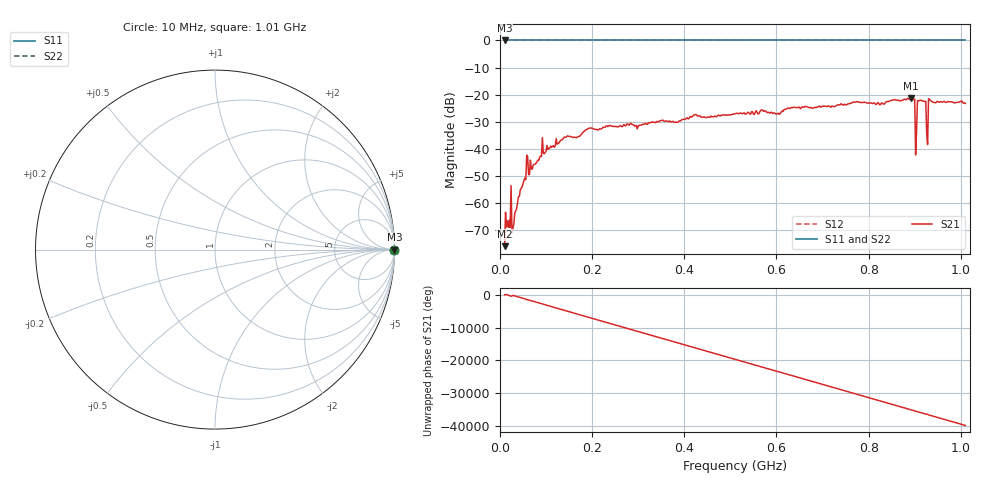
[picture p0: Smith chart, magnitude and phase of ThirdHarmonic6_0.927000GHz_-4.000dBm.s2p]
! 8/16/2025 6:14:09 AM
! C:\ANRITSUVNA\TEMP\TEMP.S2P
! CHANNEL.1
! TR.MEASUREMENT
! RAW.DATA
! RF.CORRECTION.OFF
! AVERAGING.OFF
! IF.BANDWIDTH: 5KHZ
! SWEEPTYPE:  FREQ.SWEEP(Linear)
! Reference Plane Port Info
! PORT:  PORT1  PORT2
! DISTANCE:  0  m  0  m
! TIME:  0  s  0  s
! PHASE.OFFSET:  0  deg.  0  deg.
! LOSS:  0  dB  0  dB
! REF.LOSS:  0  dB  0  dB
! REF.FREQ:  0  Hz  0  Hz
! Power Info
! POWER:  -20  dBm  -20  dBm
! EFF.POWER:  -20  dBm  -20  dBm
! SOURCE.ATTEN:  0  dB  0  dB
! TEST.ATTEN:  0  dB  0  dB
# GHZ S RI R 50.0
! FREQ.GHZ  S11RE  S11IM  S21RE  S21IM  S12RE  S12IM  S22RE  S22IM
!; PortSelection: Port_12
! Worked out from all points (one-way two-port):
!   501 points, 10 MHz to 1.01 GHz, reference 50 ohm
!   highest |S21| = -21.34 dB at 892 MHz (marker M1); lowest = -75.8 dB at 10 MHz (marker M2)
!   lowest |S11| = 0.0 dB at 10 MHz (marker M3)
!   |S11| at or under -10 dB: nowhere
!   |S22| runs from 0.0 to 0.0 dB; largest |S21 - S12| = 1.1
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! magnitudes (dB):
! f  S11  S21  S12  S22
! 10 MHz  0.0  -75.8  0.0  0.0
! 20 MHz  0.0  -66.2  0.0  0.0
! 30 MHz  0.0  -67.8  0.0  0.0
! 42 MHz  0.0  -57.4  0.0  0.0
! 62 MHz  0.0  -49.4  0.0  0.0
! 66 MHz  0.0  -44.1  0.0  0.0
! 96 MHz  0.0  -41.7  0.0  0.0
! 178 MHz  0.0  -34.3  0.0  0.0
! 344 MHz  0.0  -30.0  0.0  0.0
! 510 MHz  0.0  -27.0  0.0  0.0
! 678 MHz  0.0  -24.9  0.0  0.0
! 844 MHz  0.0  -22.4  0.0  0.0
! 892 MHz  0.0  -21.3  0.0  0.0
! 896 MHz  0.0  -21.7  0.0  0.0
! 900 MHz  0.0  -21.6  0.0  0.0
! 906 MHz  0.0  -22.2  0.0  0.0
! 910 MHz  0.0  -22.1  0.0  0.0
! 920 MHz  0.0  -22.3  0.0  0.0
! 924 MHz  0.0  -22.5  0.0  0.0
! 930 MHz  0.0  -21.5  0.0  0.0
! 934 MHz  0.0  -22.1  0.0  0.0
! 1.01 GHz  0.0  -23.2  0.0  0.0
